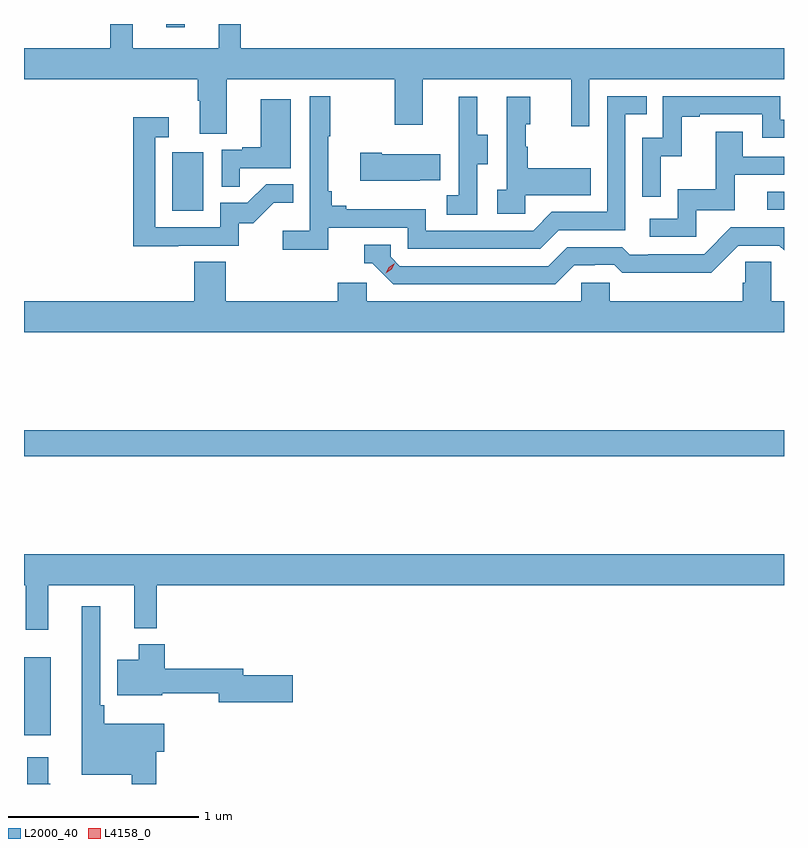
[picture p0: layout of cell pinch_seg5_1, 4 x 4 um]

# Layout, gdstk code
import gdstk
lib = gdstk.Library(unit=1e-6, precision=1e-09)
def R(c, l, rs):  # rectangles x0, y0, x1, y1
    for r in rs: c.add(gdstk.rectangle(r[:2], r[2:], *l))
def P(c, l, *ps):  # polygons
    for p in ps: c.add(gdstk.Polygon(p, *l))
L2000_40 = (2000, 40)
L4158_0 = (4158, 0)

pinch_seg5_1 = lib.new_cell('pinch_seg5_1')
R(pinch_seg5_1, L2000_40, [(1077.627,906.587,1077.769,906.997), (1077.627,908.056,1081.627,908.192), (1078.406,909.348,1078.57,909.655), (1081.539,909.354,1081.627,909.447), (1078.376,910.314,1078.473,910.331)])
P(pinch_seg5_1, L2000_40, [(1078.693,910.04),(1079.578,910.04),(1079.578,909.801),(1079.725,909.801),(1079.725,910.04),(1080.506,910.04),(1080.506,909.792),(1080.603,909.792),(1080.603,910.04),(1081.627,910.04),(1081.627,910.204),(1078.769,910.204),(1078.769,910.331),(1078.652,910.331),(1078.652,910.204),(1078.199,910.204),(1078.199,910.331),(1078.081,910.331),(1078.081,910.204),(1077.627,910.204),(1077.627,910.04),(1078.541,910.04),(1078.541,909.928),(1078.553,909.928),(1078.553,909.754),(1078.693,909.754)],
  [(1079.228,909.258),(1079.646,909.258),(1079.646,909.147),(1080.343,909.147),(1080.442,909.246),(1080.792,909.246),(1080.792,909.855),(1080.905,909.855),(1080.905,909.951),(1080.696,909.951),(1080.696,909.342),(1080.405,909.342),(1080.306,909.243),(1079.742,909.243),(1079.742,909.355),(1079.323,909.355),(1079.323,909.374),(1079.246,909.374),(1079.246,909.451),(1079.227,909.451),(1079.227,909.739),(1079.239,909.739),(1079.239,909.952),(1079.13,909.952),(1079.13,909.244),(1078.989,909.244),(1078.989,909.142),(1079.228,909.142)],
  [(1080.978,909.635),(1081.088,909.635),(1081.088,909.843),(1081.183,909.843),(1081.183,909.855),(1081.512,909.855),(1081.512,909.732),(1081.627,909.732),(1081.627,909.828),(1081.608,909.828),(1081.608,909.951),(1080.99,909.951),(1080.99,909.732),(1080.882,909.732),(1080.882,909.423),(1080.978,909.423)],
  [(1080.012,909.592),(1080.067,909.592),(1080.067,909.747),(1080.013,909.747),(1080.013,909.949),(1079.915,909.949),(1079.915,909.735),(1079.916,909.735),(1079.916,909.431),(1079.853,909.431),(1079.853,909.328),(1080.012,909.328)],
  [(1080.264,909.431),(1080.611,909.431),(1080.611,909.571),(1080.277,909.571),(1080.277,909.686),(1080.267,909.686),(1080.267,909.804),(1080.292,909.804),(1080.292,909.949),(1080.168,909.949),(1080.168,909.458),(1080.117,909.458),(1080.117,909.333),(1080.264,909.333)],
  [(1078.763,909.573),(1079.032,909.573),(1079.032,909.934),(1078.874,909.934),(1078.874,909.682),(1078.775,909.682),(1078.775,909.669),(1078.668,909.669),(1078.668,909.475),(1078.763,909.475)],
  [(1078.439,909.165),(1078.758,909.165),(1078.758,909.282),(1078.834,909.282),(1078.941,909.389),(1079.045,909.389),(1079.045,909.488),(1078.901,909.488),(1078.803,909.39),(1078.659,909.39),(1078.659,909.261),(1078.317,909.261),(1078.317,909.735),(1078.39,909.735),(1078.39,909.841),(1078.201,909.841),(1078.201,909.16),(1078.439,909.16)],
  [(1081.164,909.351),(1081.369,909.351),(1081.369,909.537),(1081.627,909.537),(1081.627,909.633),(1081.411,909.633),(1081.411,909.763),(1081.267,909.763),(1081.267,909.46),(1081.068,909.46),(1081.068,909.306),(1080.921,909.306),(1080.921,909.21),(1081.164,909.21)],
  [(1079.711,909.509),(1079.819,909.509),(1079.819,909.646),(1079.509,909.646),(1079.509,909.654),(1079.397,909.654),(1079.397,909.506),(1079.711,909.506)],
  [(1080.523,909.06),(1080.63,909.06),(1080.63,909.063),(1080.733,909.063),(1080.775,909.021),(1081.008,909.021),(1081.008,909.023),(1081.244,909.023),(1081.386,909.165),(1081.602,909.165),(1081.627,909.14),(1081.627,909.261),(1081.347,909.261),(1081.206,909.12),(1080.913,909.12),(1080.913,909.117),(1080.814,909.117),(1080.775,909.156),(1080.486,909.156),(1080.387,909.057),(1079.604,909.057),(1079.556,909.105),(1079.556,909.168),(1079.417,909.168),(1079.417,909.072),(1079.46,909.072),(1079.571,908.961),(1080.424,908.961)],
  [(1081.627,908.872),(1081.56,908.872),(1081.56,909.08),(1081.423,909.08),(1081.423,908.97),(1081.409,908.97),(1081.409,908.872),(1080.711,908.872),(1080.711,908.97),(1080.561,908.97),(1080.561,908.872),(1079.43,908.872),(1079.43,908.97),(1079.279,908.97),(1079.279,908.872),(1078.688,908.872),(1078.688,909.08),(1078.523,909.08),(1078.523,908.872),(1077.627,908.872),(1077.627,908.708),(1081.627,908.708)],
  [(1077.755,907.376),(1078.208,907.376),(1078.208,907.151),(1078.325,907.151),(1078.325,907.376),(1081.627,907.376),(1081.627,907.54),(1077.627,907.54),(1077.627,907.376),(1077.637,907.376),(1077.637,907.143),(1077.755,907.143)],
  [(1078.322,906.502),(1078.366,906.502),(1078.366,906.649),(1078.049,906.649),(1078.049,906.745),(1078.029,906.745),(1078.029,907.267),(1077.932,907.267),(1077.932,906.38),(1078.194,906.38),(1078.194,906.331),(1078.322,906.331)],
  [(1079.041,906.903),(1078.78,906.903),(1078.78,906.937),(1078.367,906.937),(1078.367,907.066),(1078.232,907.066),(1078.232,906.985),(1078.118,906.985),(1078.118,906.797),(1078.354,906.797),(1078.354,906.808),(1078.652,906.808),(1078.652,906.761),(1079.041,906.761)],
  [(1077.766,906.332),(1077.754,906.332),(1077.754,906.472),(1077.645,906.472),(1077.645,906.331),(1077.766,906.331)])
P(pinch_seg5_1, L4158_0, [(1079.532,909.019),(1079.532,909.02),(1079.548,909.052),(1079.578,909.072),(1079.579,909.072),(1079.579,909.072),(1079.563,909.039),(1079.532,909.019)])

lib.write_gds('pinch_seg5_1.gds')
